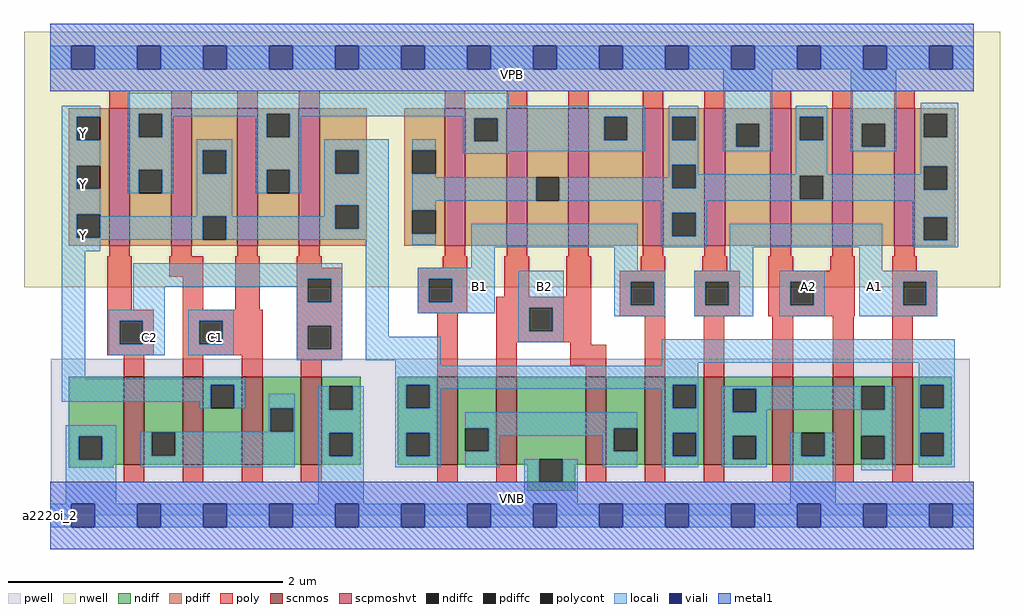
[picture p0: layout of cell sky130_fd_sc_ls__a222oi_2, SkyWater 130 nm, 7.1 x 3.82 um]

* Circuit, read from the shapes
.subckt sky130_fd_sc_ls__a222oi_2 A1 A2 B1 B2 C1 C2 VGND VNB VPB VPWR Y
XM1 n1 C2 VGND VNB sky130_fd_pr__nfet_01v8 w=0.64 l=0.15 m=2
XM2 Y C1 n1 VNB sky130_fd_pr__nfet_01v8 w=0.64 l=0.15 m=2
XM3 n2 B1 Y VNB sky130_fd_pr__nfet_01v8 w=0.64 l=0.15 m=2
XM4 VGND B2 n2 VNB sky130_fd_pr__nfet_01v8 w=0.64 l=0.15 m=2
XM5 n3 A1 Y VNB sky130_fd_pr__nfet_01v8 w=0.64 l=0.15 m=2
XM6 VGND A2 n3 VNB sky130_fd_pr__nfet_01v8 w=0.64 l=0.15 m=2
XM7 n4 C2 Y VPB sky130_fd_pr__pfet_01v8_hvt w=1 l=0.15 m=2
XM8 Y C1 n4 VPB sky130_fd_pr__pfet_01v8_hvt w=1 l=0.15 m=2
XM9 n4 B1 n5 VPB sky130_fd_pr__pfet_01v8_hvt w=1 l=0.15 m=2
XM10 n5 B2 n4 VPB sky130_fd_pr__pfet_01v8_hvt w=1 l=0.15 m=2
XM11 VPWR A1 n5 VPB sky130_fd_pr__pfet_01v8_hvt w=1 l=0.15 m=2
XM12 n5 A2 VPWR VPB sky130_fd_pr__pfet_01v8_hvt w=1 l=0.15 m=2
.ends

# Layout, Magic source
magic
tech sky130A
magscale 1 2
<< nwell >>
rect -38 332 1382 704
<< pwell >>
rect 1 49 1338 228
rect 0 0 1344 49
<< scnmos >>
rect 107 74 137 202
rect 193 74 223 202
rect 279 74 309 202
rect 365 74 395 202
rect 563 74 593 202
rect 649 74 679 202
rect 779 74 809 202
rect 865 74 895 202
rect 951 74 981 202
rect 1051 74 1081 202
rect 1139 74 1169 202
rect 1225 74 1255 202
<< scpmoshvt >>
rect 86 392 116 592
rect 176 392 206 592
rect 272 392 302 592
rect 362 392 392 592
rect 574 392 604 592
rect 664 392 694 592
rect 754 392 784 592
rect 862 392 892 592
rect 952 392 982 592
rect 1048 392 1078 592
rect 1138 392 1168 592
rect 1228 392 1258 592
<< ndiff >>
rect 27 115 107 202
rect 27 81 42 115
rect 76 81 107 115
rect 27 74 107 81
rect 137 121 193 202
rect 137 87 148 121
rect 182 87 193 121
rect 137 74 193 87
rect 223 190 279 202
rect 223 156 234 190
rect 268 156 279 190
rect 223 74 279 156
rect 309 156 365 202
rect 309 122 320 156
rect 354 122 365 156
rect 309 74 365 122
rect 395 188 452 202
rect 395 154 406 188
rect 440 154 452 188
rect 395 120 452 154
rect 395 86 406 120
rect 440 86 452 120
rect 395 74 452 86
rect 506 190 563 202
rect 506 156 518 190
rect 552 156 563 190
rect 506 120 563 156
rect 506 86 518 120
rect 552 86 563 120
rect 506 74 563 86
rect 593 127 649 202
rect 593 93 604 127
rect 638 93 649 127
rect 593 74 649 93
rect 679 82 779 202
rect 679 74 712 82
rect 27 69 92 74
rect 694 48 712 74
rect 746 74 779 82
rect 809 127 865 202
rect 809 93 820 127
rect 854 93 865 127
rect 809 74 865 93
rect 895 190 951 202
rect 895 156 906 190
rect 940 156 951 190
rect 895 120 951 156
rect 895 86 906 120
rect 940 86 951 120
rect 895 74 951 86
rect 981 184 1051 202
rect 981 150 993 184
rect 1027 150 1051 184
rect 981 116 1051 150
rect 981 82 993 116
rect 1027 82 1051 116
rect 981 74 1051 82
rect 1081 120 1139 202
rect 1081 86 1093 120
rect 1127 86 1139 120
rect 1081 74 1139 86
rect 1169 188 1225 202
rect 1169 154 1180 188
rect 1214 154 1225 188
rect 1169 116 1225 154
rect 1169 82 1180 116
rect 1214 82 1225 116
rect 1169 74 1225 82
rect 1255 190 1312 202
rect 1255 156 1266 190
rect 1300 156 1312 190
rect 1255 120 1312 156
rect 1255 86 1266 120
rect 1300 86 1312 120
rect 1255 74 1312 86
rect 746 48 764 74
rect 694 36 764 48
<< pdiff >>
rect 27 580 86 592
rect 27 546 39 580
rect 73 546 86 580
rect 27 509 86 546
rect 27 475 39 509
rect 73 475 86 509
rect 27 438 86 475
rect 27 404 39 438
rect 73 404 86 438
rect 27 392 86 404
rect 116 584 176 592
rect 116 550 129 584
rect 163 550 176 584
rect 116 503 176 550
rect 116 469 129 503
rect 163 469 176 503
rect 116 392 176 469
rect 206 531 272 592
rect 206 497 222 531
rect 256 497 272 531
rect 206 435 272 497
rect 206 401 222 435
rect 256 401 272 435
rect 206 392 272 401
rect 302 584 362 592
rect 302 550 315 584
rect 349 550 362 584
rect 302 503 362 550
rect 302 469 315 503
rect 349 469 362 503
rect 302 392 362 469
rect 392 531 461 592
rect 392 497 415 531
rect 449 497 461 531
rect 392 451 461 497
rect 392 417 415 451
rect 449 417 461 451
rect 392 392 461 417
rect 515 531 574 592
rect 515 497 527 531
rect 561 497 574 531
rect 515 444 574 497
rect 515 410 527 444
rect 561 410 574 444
rect 515 392 574 410
rect 604 578 664 592
rect 604 544 617 578
rect 651 544 664 578
rect 604 392 664 544
rect 694 492 754 592
rect 694 458 707 492
rect 741 458 754 492
rect 694 392 754 458
rect 784 580 862 592
rect 784 546 806 580
rect 840 546 862 580
rect 784 392 862 546
rect 892 580 952 592
rect 892 546 905 580
rect 939 546 952 580
rect 892 510 952 546
rect 892 476 905 510
rect 939 476 952 510
rect 892 440 952 476
rect 892 406 905 440
rect 939 406 952 440
rect 892 392 952 406
rect 982 570 1048 592
rect 982 536 998 570
rect 1032 536 1048 570
rect 982 392 1048 536
rect 1078 580 1138 592
rect 1078 546 1091 580
rect 1125 546 1138 580
rect 1078 494 1138 546
rect 1078 460 1091 494
rect 1125 460 1138 494
rect 1078 392 1138 460
rect 1168 570 1228 592
rect 1168 536 1181 570
rect 1215 536 1228 570
rect 1168 392 1228 536
rect 1258 584 1317 592
rect 1258 550 1271 584
rect 1305 550 1317 584
rect 1258 508 1317 550
rect 1258 474 1271 508
rect 1305 474 1317 508
rect 1258 434 1317 474
rect 1258 400 1271 434
rect 1305 400 1317 434
rect 1258 392 1317 400
<< ndiffc >>
rect 42 81 76 115
rect 148 87 182 121
rect 234 156 268 190
rect 320 122 354 156
rect 406 154 440 188
rect 406 86 440 120
rect 518 156 552 190
rect 518 86 552 120
rect 604 93 638 127
rect 712 48 746 82
rect 820 93 854 127
rect 906 156 940 190
rect 906 86 940 120
rect 993 150 1027 184
rect 993 82 1027 116
rect 1093 86 1127 120
rect 1180 154 1214 188
rect 1180 82 1214 116
rect 1266 156 1300 190
rect 1266 86 1300 120
<< pdiffc >>
rect 39 546 73 580
rect 39 475 73 509
rect 39 404 73 438
rect 129 550 163 584
rect 129 469 163 503
rect 222 497 256 531
rect 222 401 256 435
rect 315 550 349 584
rect 315 469 349 503
rect 415 497 449 531
rect 415 417 449 451
rect 527 497 561 531
rect 527 410 561 444
rect 617 544 651 578
rect 707 458 741 492
rect 806 546 840 580
rect 905 546 939 580
rect 905 476 939 510
rect 905 406 939 440
rect 998 536 1032 570
rect 1091 546 1125 580
rect 1091 460 1125 494
rect 1181 536 1215 570
rect 1271 550 1305 584
rect 1271 474 1305 508
rect 1271 400 1305 434
<< poly >>
rect 86 592 116 618
rect 176 592 206 618
rect 272 592 302 618
rect 362 592 392 618
rect 574 592 604 618
rect 664 592 694 618
rect 754 592 784 618
rect 862 592 892 618
rect 952 592 982 618
rect 1048 592 1078 618
rect 1138 592 1168 618
rect 1228 592 1258 618
rect 86 377 116 392
rect 176 377 206 392
rect 272 377 302 392
rect 362 377 392 392
rect 574 377 604 392
rect 664 377 694 392
rect 754 377 784 392
rect 862 377 892 392
rect 952 377 982 392
rect 1048 377 1078 392
rect 1138 377 1168 392
rect 1228 377 1258 392
rect 83 299 119 377
rect 173 347 223 377
rect 193 299 223 347
rect 269 299 305 377
rect 359 360 395 377
rect 571 360 607 377
rect 359 344 425 360
rect 359 310 375 344
rect 409 310 425 344
rect 83 283 151 299
rect 83 249 101 283
rect 135 249 151 283
rect 83 233 151 249
rect 193 283 309 299
rect 193 249 217 283
rect 251 249 309 283
rect 193 233 309 249
rect 107 202 137 233
rect 193 202 223 233
rect 279 202 309 233
rect 359 276 425 310
rect 535 344 607 360
rect 535 310 551 344
rect 585 310 607 344
rect 661 318 697 377
rect 751 318 787 377
rect 859 356 895 377
rect 949 356 985 377
rect 1045 356 1081 377
rect 1135 356 1171 377
rect 535 294 607 310
rect 649 302 787 318
rect 359 242 375 276
rect 409 242 425 276
rect 359 226 425 242
rect 365 202 395 226
rect 563 202 593 294
rect 649 268 697 302
rect 731 268 787 302
rect 829 340 895 356
rect 829 306 845 340
rect 879 306 895 340
rect 829 290 895 306
rect 937 340 1003 356
rect 937 306 953 340
rect 987 306 1003 340
rect 937 290 1003 306
rect 1045 340 1171 356
rect 1045 306 1077 340
rect 1111 306 1171 340
rect 1045 290 1171 306
rect 1225 356 1261 377
rect 1225 340 1291 356
rect 1225 306 1241 340
rect 1275 306 1291 340
rect 1225 290 1291 306
rect 649 252 787 268
rect 649 202 679 252
rect 757 248 787 252
rect 757 218 809 248
rect 779 202 809 218
rect 865 202 895 290
rect 951 202 981 290
rect 1051 202 1081 290
rect 1139 202 1169 290
rect 1225 202 1255 290
rect 107 48 137 74
rect 193 48 223 74
rect 279 48 309 74
rect 365 48 395 74
rect 563 48 593 74
rect 649 48 679 74
rect 779 48 809 74
rect 865 48 895 74
rect 951 48 981 74
rect 1051 48 1081 74
rect 1139 48 1169 74
rect 1225 48 1255 74
<< polycont >>
rect 375 310 409 344
rect 101 249 135 283
rect 217 249 251 283
rect 551 310 585 344
rect 375 242 409 276
rect 697 268 731 302
rect 845 306 879 340
rect 953 306 987 340
rect 1077 306 1111 340
rect 1241 306 1275 340
<< locali >>
rect 0 649 31 683
rect 65 649 127 683
rect 161 649 223 683
rect 257 649 319 683
rect 353 649 415 683
rect 449 649 511 683
rect 545 649 607 683
rect 641 649 703 683
rect 737 649 799 683
rect 833 649 895 683
rect 929 649 991 683
rect 1025 649 1087 683
rect 1121 649 1183 683
rect 1217 649 1279 683
rect 1313 649 1344 683
rect 113 596 667 615
rect 17 580 73 596
rect 17 546 39 580
rect 17 509 73 546
rect 17 475 39 509
rect 17 438 73 475
rect 113 584 865 596
rect 113 550 129 584
rect 163 581 315 584
rect 163 550 179 581
rect 113 503 179 550
rect 299 550 315 581
rect 349 581 865 584
rect 349 550 365 581
rect 113 469 129 503
rect 163 469 179 503
rect 213 531 265 547
rect 213 497 222 531
rect 256 497 265 531
rect 17 404 39 438
rect 213 435 265 497
rect 299 503 365 550
rect 601 580 865 581
rect 601 578 806 580
rect 299 469 315 503
rect 349 469 365 503
rect 399 531 493 547
rect 399 497 415 531
rect 449 497 493 531
rect 399 451 493 497
rect 399 435 415 451
rect 73 404 222 435
rect 17 401 222 404
rect 256 417 415 435
rect 449 417 493 451
rect 256 401 493 417
rect 17 384 73 401
rect 17 199 51 384
rect 121 344 425 367
rect 121 333 375 344
rect 121 299 167 333
rect 359 310 375 333
rect 409 310 425 344
rect 85 283 167 299
rect 85 249 101 283
rect 135 249 167 283
rect 85 233 167 249
rect 201 283 267 299
rect 201 249 217 283
rect 251 249 267 283
rect 201 233 267 249
rect 359 276 425 310
rect 359 242 375 276
rect 409 242 425 276
rect 359 226 425 242
rect 459 260 493 401
rect 527 531 561 547
rect 601 544 617 578
rect 651 546 806 578
rect 840 546 865 580
rect 651 544 865 546
rect 601 530 865 544
rect 900 580 943 596
rect 900 546 905 580
rect 939 546 943 580
rect 601 526 667 530
rect 527 492 561 497
rect 900 510 943 546
rect 979 570 1051 649
rect 979 536 998 570
rect 1032 536 1051 570
rect 979 530 1051 536
rect 1085 580 1131 596
rect 1085 546 1091 580
rect 1125 546 1131 580
rect 900 492 905 510
rect 527 458 707 492
rect 741 476 905 492
rect 939 496 943 510
rect 1085 496 1131 546
rect 1165 570 1231 649
rect 1165 536 1181 570
rect 1215 536 1231 570
rect 1165 530 1231 536
rect 1267 584 1321 600
rect 1267 550 1271 584
rect 1305 550 1321 584
rect 1267 508 1321 550
rect 1267 496 1271 508
rect 939 494 1271 496
rect 939 476 1091 494
rect 741 460 1091 476
rect 1125 474 1271 494
rect 1305 474 1321 508
rect 1125 460 1321 474
rect 741 458 1321 460
rect 527 444 561 458
rect 889 440 955 458
rect 527 394 561 410
rect 613 390 855 424
rect 889 406 905 440
rect 939 406 955 440
rect 1255 434 1321 458
rect 889 390 955 406
rect 989 390 1211 424
rect 1255 400 1271 434
rect 1305 400 1321 434
rect 1255 390 1321 400
rect 613 360 647 390
rect 535 344 647 360
rect 821 356 855 390
rect 989 356 1023 390
rect 1177 356 1211 390
rect 535 310 551 344
rect 585 310 647 344
rect 535 294 647 310
rect 681 302 747 356
rect 681 268 697 302
rect 731 268 747 302
rect 821 340 895 356
rect 821 306 845 340
rect 879 306 895 340
rect 821 290 895 306
rect 937 340 1023 356
rect 937 306 953 340
rect 987 306 1023 340
rect 937 290 1023 306
rect 1061 340 1127 356
rect 1061 306 1077 340
rect 1111 306 1127 340
rect 1061 290 1127 306
rect 1177 340 1291 356
rect 1177 306 1241 340
rect 1275 306 1291 340
rect 1177 290 1291 306
rect 459 226 568 260
rect 681 252 747 268
rect 502 218 568 226
rect 890 222 1316 256
rect 890 218 943 222
rect 17 190 284 199
rect 17 165 234 190
rect 218 156 234 165
rect 268 156 284 190
rect 502 190 943 218
rect 318 156 356 177
rect 23 115 96 131
rect 318 122 320 156
rect 354 122 356 156
rect 23 81 42 115
rect 76 81 96 115
rect 23 17 96 81
rect 132 121 356 122
rect 132 87 148 121
rect 182 87 356 121
rect 132 70 356 87
rect 390 154 406 188
rect 440 154 456 188
rect 390 120 456 154
rect 390 86 406 120
rect 440 86 456 120
rect 390 17 456 86
rect 502 156 518 190
rect 552 184 906 190
rect 552 156 568 184
rect 502 120 568 156
rect 890 156 906 184
rect 940 156 943 190
rect 1264 190 1316 222
rect 502 86 518 120
rect 552 86 568 120
rect 502 70 568 86
rect 604 127 854 150
rect 638 116 820 127
rect 638 93 654 116
rect 604 70 654 93
rect 804 93 820 116
rect 690 48 712 82
rect 746 48 768 82
rect 804 70 854 93
rect 890 120 943 156
rect 890 86 906 120
rect 940 86 943 120
rect 890 70 943 86
rect 977 184 1180 188
rect 977 150 993 184
rect 1027 154 1180 184
rect 1214 154 1230 188
rect 1027 150 1043 154
rect 977 116 1043 150
rect 977 82 993 116
rect 1027 82 1043 116
rect 977 70 1043 82
rect 1077 86 1093 120
rect 1127 86 1143 120
rect 690 17 768 48
rect 1077 17 1143 86
rect 1180 116 1230 154
rect 1214 82 1230 116
rect 1180 66 1230 82
rect 1264 156 1266 190
rect 1300 156 1316 190
rect 1264 120 1316 156
rect 1264 86 1266 120
rect 1300 86 1316 120
rect 1264 70 1316 86
rect 0 -17 31 17
rect 65 -17 127 17
rect 161 -17 223 17
rect 257 -17 319 17
rect 353 -17 415 17
rect 449 -17 511 17
rect 545 -17 607 17
rect 641 -17 703 17
rect 737 -17 799 17
rect 833 -17 895 17
rect 929 -17 991 17
rect 1025 -17 1087 17
rect 1121 -17 1183 17
rect 1217 -17 1279 17
rect 1313 -17 1344 17
<< viali >>
rect 31 649 65 683
rect 127 649 161 683
rect 223 649 257 683
rect 319 649 353 683
rect 415 649 449 683
rect 511 649 545 683
rect 607 649 641 683
rect 703 649 737 683
rect 799 649 833 683
rect 895 649 929 683
rect 991 649 1025 683
rect 1087 649 1121 683
rect 1183 649 1217 683
rect 1279 649 1313 683
rect 31 -17 65 17
rect 127 -17 161 17
rect 223 -17 257 17
rect 319 -17 353 17
rect 415 -17 449 17
rect 511 -17 545 17
rect 607 -17 641 17
rect 703 -17 737 17
rect 799 -17 833 17
rect 895 -17 929 17
rect 991 -17 1025 17
rect 1087 -17 1121 17
rect 1183 -17 1217 17
rect 1279 -17 1313 17
<< metal1 >>
rect 0 683 1344 715
rect 0 649 31 683
rect 65 649 127 683
rect 161 649 223 683
rect 257 649 319 683
rect 353 649 415 683
rect 449 649 511 683
rect 545 649 607 683
rect 641 649 703 683
rect 737 649 799 683
rect 833 649 895 683
rect 929 649 991 683
rect 1025 649 1087 683
rect 1121 649 1183 683
rect 1217 649 1279 683
rect 1313 649 1344 683
rect 0 617 1344 649
rect 0 17 1344 49
rect 0 -17 31 17
rect 65 -17 127 17
rect 161 -17 223 17
rect 257 -17 319 17
rect 353 -17 415 17
rect 449 -17 511 17
rect 545 -17 607 17
rect 641 -17 703 17
rect 737 -17 799 17
rect 833 -17 895 17
rect 929 -17 991 17
rect 1025 -17 1087 17
rect 1121 -17 1183 17
rect 1217 -17 1279 17
rect 1313 -17 1344 17
rect 0 -49 1344 -17
<< labels >>
rlabel comment s 0 0 0 0 4 a222oi_2
flabel pwell s 0 0 1344 49 0 FreeSans 200 0 0 0 VNB
port 8 nsew ground bidirectional
flabel nwell s 0 617 1344 666 0 FreeSans 200 0 0 0 VPB
port 9 nsew power bidirectional
flabel metal1 s 0 617 1344 666 0 FreeSans 340 0 0 0 VPWR
port 10 nsew power bidirectional abutment
flabel metal1 s 0 0 1344 49 0 FreeSans 340 0 0 0 VGND
port 7 nsew ground bidirectional abutment
flabel locali s 223 242 257 276 0 FreeSans 340 0 0 0 C1
port 5 nsew signal input
flabel locali s 703 316 737 350 0 FreeSans 340 0 0 0 B2
port 4 nsew signal input
flabel locali s 1087 316 1121 350 0 FreeSans 340 0 0 0 A2
port 2 nsew signal input
flabel locali s 1183 316 1217 350 0 FreeSans 340 0 0 0 A1
port 1 nsew signal input
flabel locali s 31 390 65 424 0 FreeSans 340 0 0 0 Y
port 11 nsew signal output
flabel locali s 31 464 65 498 0 FreeSans 340 0 0 0 Y
port 11 nsew signal output
flabel locali s 31 538 65 572 0 FreeSans 340 0 0 0 Y
port 11 nsew signal output
flabel locali s 127 242 161 276 0 FreeSans 340 0 0 0 C2
port 6 nsew signal input
flabel locali s 607 316 641 350 0 FreeSans 340 0 0 0 B1
port 3 nsew signal input
<< properties >>
string LEFsite unit
string LEFclass CORE
string FIXED_BBOX 0 0 1344 666
string GDS_FILE $PDKPATH/libs.ref/sky130_fd_sc_ls/gds/sky130_fd_sc_ls.gds
string LEFsymmetry X Y
string GDS_END 1488788
string GDS_START 1477208
<< end >>
